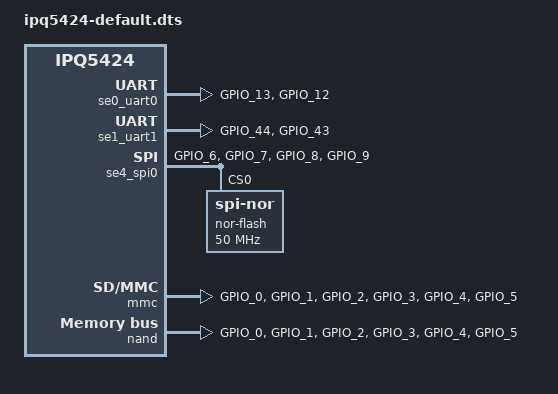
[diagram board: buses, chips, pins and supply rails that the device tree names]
// SPDX-License-Identifier: GPL-2.0-only
/*
* Copyright (c) 2023, Qualcomm Innovation Center, Inc. All rights reserved.
*/

#include "ipq5424.dtsi"

/ {
	config_name = "config-default";

	aliases {
		console = &se1_uart1;
		spi0 = &se4_spi0;
		sdhci = &mmc;
		uart2 = &se0_uart0;
	};

	soc: soc@0 {
		tlmm: pinctrl@1000000 {
			uart0_pinmux: uart0 {
				u-boot,dm-pre-reloc;
				uart0_tx {
					u-boot,dm-pre-reloc;
					pins = "GPIO_13";
					function = "uart0_tx";
					drive-strength = <DRIVE_STRENGTH_8MA>;
					bias-pull-up;
				};

				uart0_rx {
					u-boot,dm-pre-reloc;
					pins = "GPIO_12";
					function = "uart0_rx";
					drive-strength = <DRIVE_STRENGTH_8MA>;
					bias-pull-down;
				};
			};

			uart1_pinmux: uart1 {
				u-boot,dm-pre-reloc;
				uart1_tx {
					u-boot,dm-pre-reloc;
					pins = "GPIO_44";
					function = "uart1_tx";
					drive-strength = <DRIVE_STRENGTH_8MA>;
					bias-pull-up;
				};

				uart1_rx {
					u-boot,dm-pre-reloc;
					pins = "GPIO_43";
					function = "uart1_rx";
					drive-strength = <DRIVE_STRENGTH_8MA>;
					bias-pull-down;
				};
			};

			spi0_pinmux: spi0 {
				spi0_sclk {
					pins = "GPIO_6";
					function = "spi0_sclk";
					drive-strength = <DRIVE_STRENGTH_8MA>;
					bias-pull-down;
				};

				spi0_cs0 {
					pins = "GPIO_7";
					function = "spi0_cs0";
					drive-strength = <DRIVE_STRENGTH_8MA>;
					bias-pull-up;
				};

				spi0_miso {
					pins = "GPIO_8";
					function = "spi0_miso";
					drive-strength = <DRIVE_STRENGTH_8MA>;
					bias-pull-down;
				};

				spi0_mosi {
					pins = "GPIO_9";
					function = "spi0_mosi";
					drive-strength = <DRIVE_STRENGTH_8MA>;
					bias-pull-down;
				};
			};

			sdhci_pinmux: mmc {
				emmc_data {
					pins = "GPIO_0", "GPIO_1", "GPIO_2",
						"GPIO_3";
					function = "sdc_data";
					drive-strength = <DRIVE_STRENGTH_8MA>;
					bias-pull-up;
				};

				emmc_cmd {
					pins = "GPIO_4";
					function = "sdc_cmd";
					drive-strength = <DRIVE_STRENGTH_8MA>;
					bias-pull-up;
				};

				emmc_clk {
					pins = "GPIO_5";
					function = "sdc_clk";
					drive-strength = <DRIVE_STRENGTH_8MA>;
					bias-disable;
				};
			};

			qspi_pinmux: nand {
				qspi_data {
					pins = "GPIO_0", "GPIO_1", "GPIO_2",
						"GPIO_3";
					function = "qspi_data";
					drive-strength = <DRIVE_STRENGTH_8MA>;
					bias-pull-up;
				};

				qspi_cs_n {
					pins = "GPIO_4";
					function = "qspi_cs_n";
					drive-strength = <DRIVE_STRENGTH_8MA>;
					bias-pull-up;
				};

				qspi_clk {
					pins = "GPIO_5";
					function = "qspi_clk";
					drive-strength = <DRIVE_STRENGTH_8MA>;
					bias-disable;
				};
			};

			pcie0_pinmux: pci_pins {
				pci_rst {
					pins = "GPIO_25";
					drive-strength = <DRIVE_STRENGTH_8MA>;
					bias-pull-up;
				};
			};

			pcie1_pinmux: pci_pins {
				pci_rst {
					pins = "GPIO_28";
					drive-strength = <DRIVE_STRENGTH_8MA>;
					bias-pull-up;
				};
			};

			pcie2_pinmux: pci_pins {
				pci_rst {
					pins = "GPIO_31";
					drive-strength = <DRIVE_STRENGTH_8MA>;
					bias-pull-up;
				};
			};

			pcie3_pinmux: pci_pins {
				pci_rst {
					pins = "GPIO_34";
					drive-strength = <DRIVE_STRENGTH_8MA>;
					bias-pull-up;
				};
			};
		};

		qupv3: geniqup@1ac0000 {
			status = "okay";

			se0_uart0: serial@1a80000 {
				pinctrl-0 = <&uart0_pinmux>;
				pinctrl-names = "default";
				status = "okay";
			};

			se1_uart1: serial@1a84000 {
				pinctrl-0 = <&uart1_pinmux>;
				pinctrl-names = "default";
				status = "okay";
			};

			se4_spi0: spi@1a90000 {
				pinctrl-0 = <&spi0_pinmux>;
				pinctrl-names = "default";
				status = "okay";

				nor-flash@0 {
					compatible = "jedec,spi-nor";
					reg = <0>;
					spi-max-frequency = <50000000>;
				};
			};
		};

		mmc: sdhci@7800000 {
			pinctrl-names = "default";
			pinctrl-0 = <&sdhci_pinmux>;
			status = "okay";
		};

		nand: nand-controller@79B0000 {
			pinctrl-names = "default";
			pinctrl-0 = <&qspi_pinmux>;
			status = "okay";
		};

		watchdog: non-sec@f410000 {
			status = "okay";
		};
	};
};
